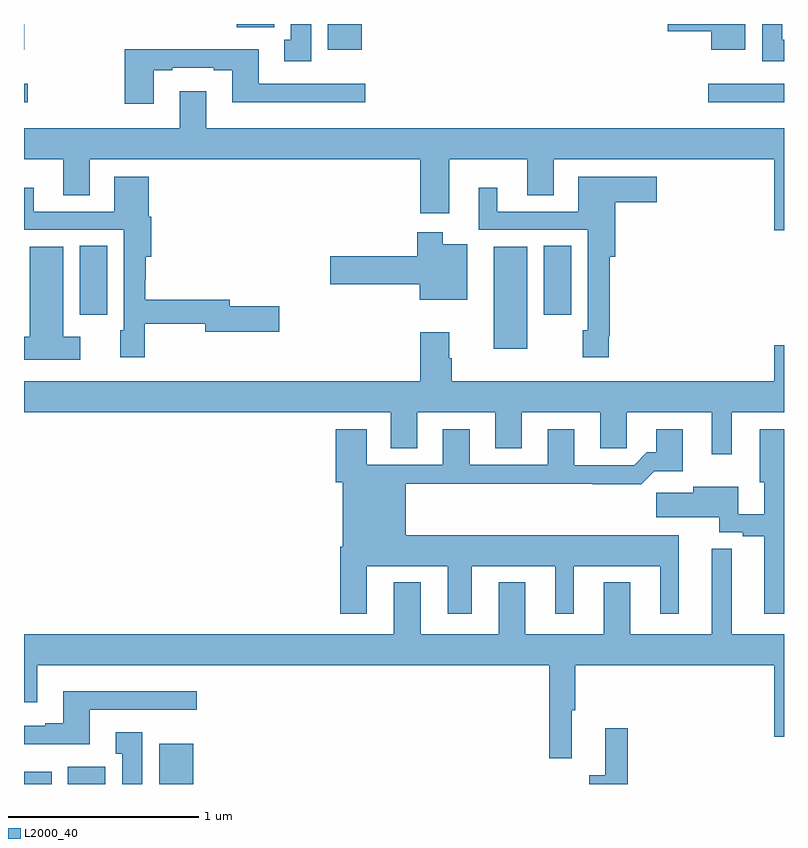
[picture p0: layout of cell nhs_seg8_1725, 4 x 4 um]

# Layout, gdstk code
import gdstk
lib = gdstk.Library(unit=1e-6, precision=1e-09)
def R(c, l, rs):  # rectangles x0, y0, x1, y1
    for r in rs: c.add(gdstk.rectangle(r[:2], r[2:], *l))
def P(c, l, *ps):  # polygons
    for p in ps: c.add(gdstk.Polygon(p, *l))
L2000_40 = (2000, 40)

nhs_seg8_1725 = lib.new_cell('nhs_seg8_1725')
R(nhs_seg8_1725, L2000_40, [(221,1091.9,221.146,1091.965), (221.231,1091.9,221.428,1091.992), (221.711,1091.9,221.89,1092.112), (223.472,1094.192,223.648,1094.728), (221.294,1094.37,221.437,1094.732), (223.736,1094.37,223.879,1094.732), (221,1095.488,221.02,1095.585), (224.601,1095.488,225,1095.585), (221,1095.764,221.002,1095.9), (222.599,1095.764,222.778,1095.9), (222.119,1095.884,222.316,1095.9)])
P(nhs_seg8_1725, L2000_40, [(225,1095.818),(224.992,1095.818),(224.992,1095.9),(224.885,1095.9),(224.885,1095.705),(225,1095.705)],
  [(222.511,1095.9),(222.404,1095.9),(222.404,1095.818),(222.371,1095.818),(222.371,1095.705),(222.511,1095.705)],
  [(224.797,1095.9),(224.388,1095.9),(224.388,1095.863),(224.618,1095.863),(224.618,1095.764),(224.797,1095.764)],
  [(221.683,1095.657),(221.779,1095.657),(221.779,1095.669),(221.999,1095.669),(221.999,1095.657),(222.095,1095.657),(222.095,1095.488),(222.796,1095.488),(222.796,1095.585),(222.235,1095.585),(222.235,1095.766),(221.531,1095.766),(221.531,1095.48),(221.683,1095.48)],
  [(225,1095.352),(221.959,1095.352),(221.959,1095.547),(221.819,1095.547),(221.819,1095.352),(221,1095.352),(221,1095.188),(221.207,1095.188),(221.207,1094.998),(221.347,1094.998),(221.347,1095.188),(223.085,1095.188),(223.085,1094.904),(223.237,1094.904),(223.237,1095.188),(223.649,1095.188),(223.649,1094.998),(223.789,1094.998),(223.789,1095.188),(224.948,1095.188),(224.948,1094.814),(225,1094.814)],
  [(221.635,1094.322),(221.954,1094.322),(221.954,1094.279),(222.343,1094.279),(222.343,1094.414),(222.082,1094.414),(222.082,1094.45),(221.638,1094.45),(221.638,1094.553),(221.642,1094.553),(221.642,1094.675),(221.669,1094.675),(221.669,1094.886),(221.656,1094.886),(221.656,1095.097),(221.474,1095.097),(221.474,1094.913),(221.05,1094.913),(221.05,1095.037),(221,1095.037),(221,1094.817),(221.526,1094.817),(221.526,1094.289),(221.507,1094.289),(221.507,1094.145),(221.635,1094.145)],
  [(224.077,1094.257),(224.084,1094.257),(224.084,1094.675),(224.111,1094.675),(224.111,1094.963),(224.329,1094.963),(224.329,1095.097),(223.916,1095.097),(223.916,1094.913),(223.492,1094.913),(223.492,1095.037),(223.394,1095.037),(223.394,1094.817),(223.968,1094.817),(223.968,1094.289),(223.942,1094.289),(223.942,1094.145),(224.077,1094.145)],
  [(223.333,1094.74),(223.204,1094.74),(223.204,1094.803),(223.07,1094.803),(223.07,1094.678),(222.612,1094.678),(222.612,1094.531),(223.082,1094.531),(223.082,1094.45),(223.333,1094.45)],
  [(221.296,1094.254),(221.206,1094.254),(221.206,1094.728),(221.03,1094.728),(221.03,1094.254),(221,1094.254),(221,1094.132),(221.296,1094.132)],
  [(224.725,1093.856),(225,1093.856),(225,1094.209),(224.948,1094.209),(224.948,1094.02),(223.25,1094.02),(223.25,1094.141),(223.237,1094.141),(223.237,1094.278),(223.085,1094.278),(223.085,1094.02),(221,1094.02),(221,1093.856),(222.929,1093.856),(222.929,1093.666),(223.069,1093.666),(223.069,1093.856),(223.481,1093.856),(223.481,1093.666),(223.621,1093.666),(223.621,1093.856),(224.033,1093.856),(224.033,1093.666),(224.172,1093.666),(224.172,1093.856),(224.621,1093.856),(224.621,1093.635),(224.725,1093.635)],
  [(225,1093.768),(224.873,1093.768),(224.873,1093.488),(224.897,1093.488),(224.897,1093.321),(224.758,1093.321),(224.758,1093.465),(224.522,1093.465),(224.522,1093.433),(224.328,1093.433),(224.328,1093.304),(224.66,1093.304),(224.66,1093.224),(224.783,1093.224),(224.783,1093.204),(224.897,1093.204),(224.897,1092.795),(225,1092.795)],
  [(222.805,1093.046),(223.229,1093.046),(223.229,1092.795),(223.357,1092.795),(223.357,1093.046),(223.796,1093.046),(223.796,1092.795),(223.894,1092.795),(223.894,1093.046),(224.348,1093.046),(224.348,1092.795),(224.446,1092.795),(224.446,1093.21),(223.009,1093.21),(223.009,1093.48),(223.993,1093.48),(223.993,1093.478),(224.249,1093.478),(224.318,1093.547),(224.467,1093.547),(224.467,1093.768),(224.327,1093.768),(224.327,1093.645),(224.278,1093.645),(224.211,1093.578),(223.897,1093.578),(223.897,1093.768),(223.757,1093.768),(223.757,1093.581),(223.345,1093.581),(223.345,1093.768),(223.205,1093.768),(223.205,1093.581),(222.805,1093.581),(222.805,1093.768),(222.641,1093.768),(222.641,1093.488),(222.677,1093.488),(222.677,1093.15),(222.665,1093.15),(222.665,1092.795),(222.805,1092.795)],
  [(223.883,1092.288),(223.901,1092.288),(223.901,1092.524),(224.948,1092.524),(224.948,1092.15),(225,1092.15),(225,1092.688),(224.725,1092.688),(224.725,1093.138),(224.621,1093.138),(224.621,1092.688),(224.191,1092.688),(224.191,1092.961),(224.051,1092.961),(224.051,1092.688),(223.639,1092.688),(223.639,1092.961),(223.499,1092.961),(223.499,1092.688),(223.087,1092.688),(223.087,1092.961),(222.947,1092.961),(222.947,1092.688),(221,1092.688),(221,1092.33),(221.071,1092.33),(221.071,1092.524),(223.765,1092.524),(223.765,1092.036),(223.883,1092.036)],
  [(221.347,1092.291),(221.908,1092.291),(221.908,1092.388),(221.207,1092.388),(221.207,1092.22),(221.111,1092.22),(221.111,1092.207),(221,1092.207),(221,1092.11),(221.347,1092.11)],
  [(224.177,1092.193),(224.06,1092.193),(224.06,1091.945),(223.974,1091.945),(223.974,1091.9),(224.177,1091.9)],
  [(221.623,1092.172),(221.483,1092.172),(221.483,1092.059),(221.516,1092.059),(221.516,1091.9),(221.623,1091.9)])

lib.write_gds('nhs_seg8_1725.gds')
